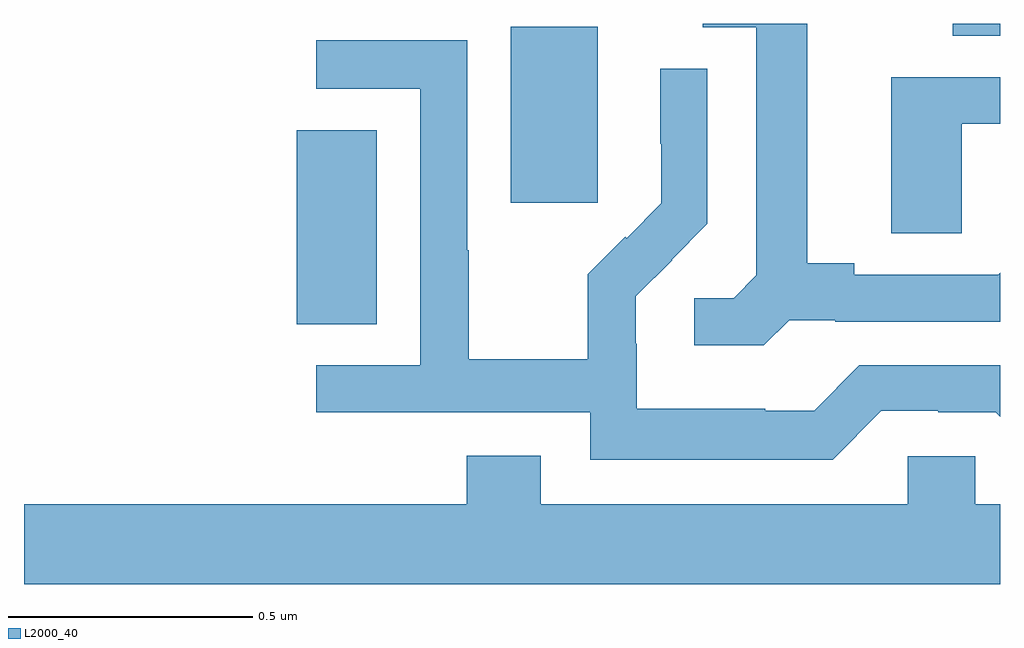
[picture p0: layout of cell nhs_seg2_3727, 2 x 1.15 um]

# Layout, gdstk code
import gdstk
lib = gdstk.Library(unit=1e-6, precision=1e-09)
def R(c, l, rs):  # rectangles x0, y0, x1, y1
    for r in rs: c.add(gdstk.rectangle(r[:2], r[2:], *l))
def P(c, l, *ps):  # polygons
    for p in ps: c.add(gdstk.Polygon(p, *l))
L2000_40 = (2000, 40)

nhs_seg2_3727 = lib.new_cell('nhs_seg2_3727')
R(nhs_seg2_3727, L2000_40, [(157.559,632.185,157.723,632.582), (157.997,632.433,158.176,632.794), (158.903,632.776,159,632.8)])
P(nhs_seg2_3727, L2000_40, [(158.568,632.193),(158.662,632.193),(158.662,632.19),(159,632.19),(159,632.29),(158.996,632.286),(158.701,632.286),(158.701,632.309),(158.605,632.309),(158.605,632.8),(158.391,632.8),(158.391,632.793),(158.501,632.793),(158.501,632.285),(158.454,632.238),(158.373,632.238),(158.373,632.141),(158.516,632.141)],
  [(158.757,632.007),(158.873,632.007),(158.873,632.004),(158.991,632.004),(159,631.995),(159,632.1),(158.712,632.1),(158.619,632.007),(158.519,632.007),(158.519,632.011),(158.256,632.011),(158.256,632.145),(158.254,632.145),(158.254,632.242),(158.328,632.316),(158.327,632.317),(158.4,632.39),(158.4,632.708),(158.304,632.708),(158.304,632.554),(158.306,632.554),(158.306,632.432),(158.235,632.361),(158.232,632.364),(158.155,632.287),(158.155,632.113),(157.911,632.113),(157.911,632.336),(157.908,632.336),(157.908,632.766),(157.599,632.766),(157.599,632.667),(157.812,632.667),(157.812,632.1),(157.599,632.1),(157.599,632.004),(158.16,632.004),(158.16,631.907),(158.657,631.907)],
  [(158.922,632.595),(159,632.595),(159,632.691),(158.777,632.691),(158.777,632.371),(158.922,632.371)],
  [(159,631.816),(158.949,631.816),(158.949,631.914),(158.811,631.914),(158.811,631.816),(158.059,631.816),(158.059,631.915),(157.907,631.915),(157.907,631.816),(157,631.816),(157,631.652),(159,631.652)])

lib.write_gds('nhs_seg2_3727.gds')
